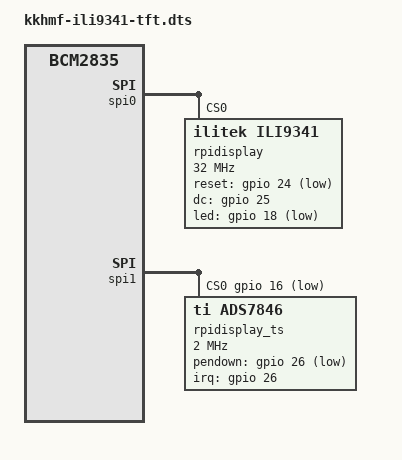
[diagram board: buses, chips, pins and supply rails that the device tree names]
/*
 * Device Tree overlay for rpi-display by Watterott
 *
 */

/dts-v1/;
/plugin/;

/ {
	compatible = "brcm,bcm2835";

	fragment@0 {
		target = <&spi0>;
		__overlay__ {
			status = "okay";
		};
	};

	fragment@1 {
		target = <&spi1>;
		__overlay__ {
			status = "okay";
		};
	};

	fragment@2 {
		target = <&spidev0>;
		__overlay__ {
			status = "disabled";
		};
	};

	fragment@3 {
		target = <&spidev1>;
		__overlay__ {
			status = "disabled";
		};
	};

	fragment@4 {
		target = <&gpio>;
		__overlay__ {
			rpi_display_pins: rpi_display_pins {
				brcm,pins = <18 24 25 26>; /* led rst dc  irq */
				brcm,function = <1 1 1 0>; /* out out out in  */
				brcm,pull = <0 0 0 2>; /* - - - up */
			};
		};
	};

	fragment@5 {
		target = <&spi0>;
		__overlay__ {
			/* needed to avoid dtc warning */
			#address-cells = <1>;
			#size-cells = <0>;

			rpidisplay: rpi-display@0{
				compatible = "ilitek,ili9341";
				reg = <0>;
				pinctrl-names = "default";
				pinctrl-0 = <&rpi_display_pins>;

				spi-max-frequency = <32000000>;
				rotate = <90>;
				bgr;
				fps = <30>;
				buswidth = <8>;
				reset-gpios = <&gpio 24 1>;
				dc-gpios = <&gpio 25 0>;
				led-gpios = <&gpio 18 1>;
				debug = <0>;
			};
		};
	};
	fragment@6 {
		target = <&spi1>;
		__overlay__ {
			/* needed to avoid dtc warning */
			#address-cells = <1>;
			#size-cells = <0>;
			cs-gpios = <&gpio 16 1>;

			rpidisplay_ts: rpi-display-ts@0 {
				compatible = "ti,ads7846";
				reg = <0>;

				spi-max-frequency = <2000000>;
				interrupts = <26 2>; /* high-to-low edge triggered */
				interrupt-parent = <&gpio>;
				pendown-gpio = <&gpio 26 1>;
				ti,x-plate-ohms = /bits/ 16 <60>;
				ti,pressure-max = /bits/ 16 <255>;
			};
		};
	};
	__overrides__ {
		speed =     <&rpidisplay>,"spi-max-frequency:0";
		rotate =    <&rpidisplay>,"rotate:0";
		fps =       <&rpidisplay>,"fps:0";
		debug =     <&rpidisplay>,"debug:0";
		xohms =     <&rpidisplay_ts>,"ti,x-plate-ohms;0";
		swapxy =    <&rpidisplay_ts>,"ti,swap-xy?";
		backlight = <&rpidisplay>,"led-gpios:4",
		            <&rpi_display_pins>,"brcm,pins:0";
	};
};
